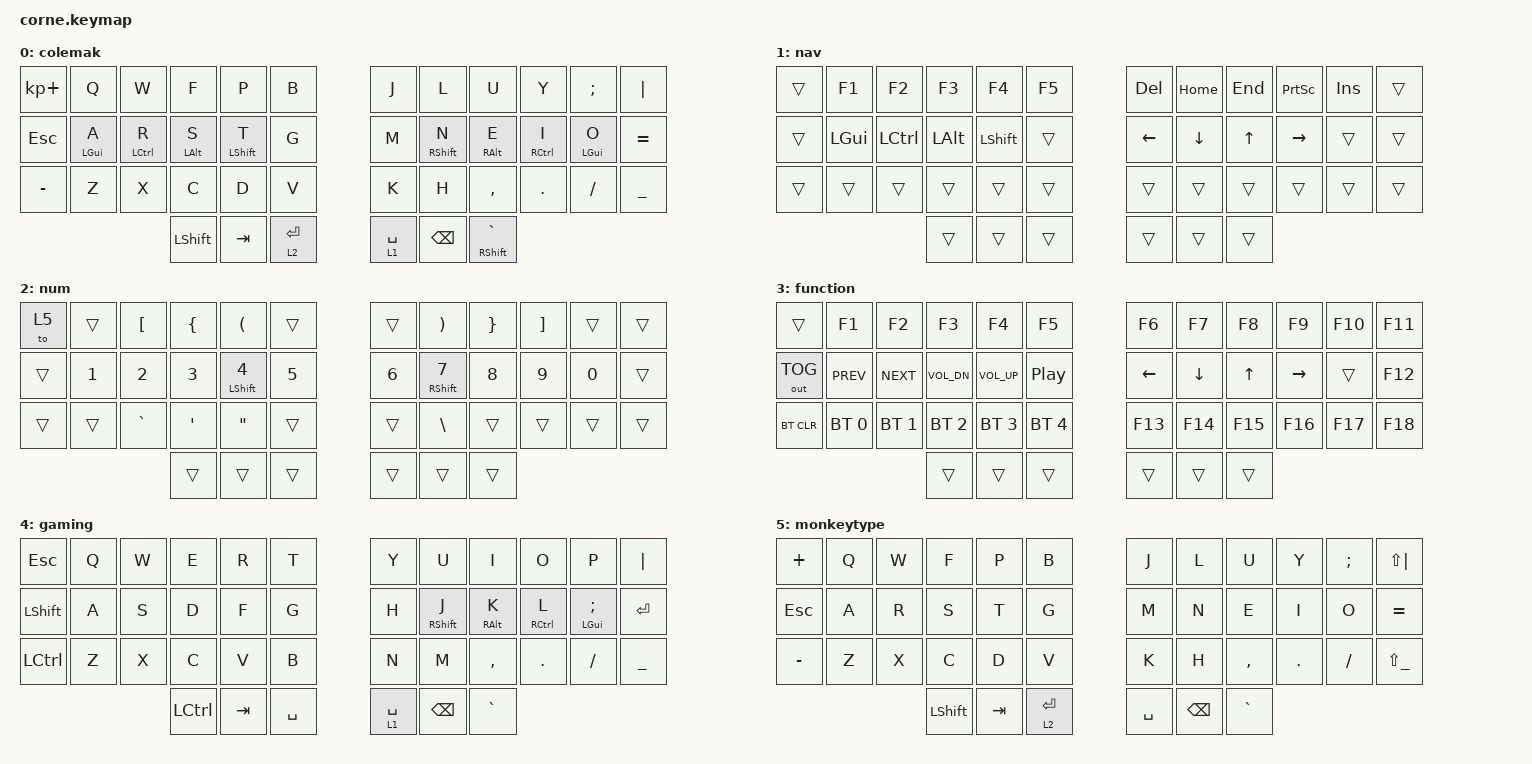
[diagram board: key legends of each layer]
/*
 * Copyright (c) 2020 The ZMK Contributors
 *
 * SPDX-License-Identifier: MIT
 */

#include <behaviors.dtsi>
#include <dt-bindings/zmk/bt.h>
#include <dt-bindings/zmk/keys.h>
#include <dt-bindings/zmk/outputs.h>

/ {
    behaviors {
        hm: homerow_mods {
            compatible = "zmk,behavior-hold-tap";
            label = "HOMEROW_MODS";
            #binding-cells = <2>;
            tapping-term-ms = <250>;
            quick-tap-ms = <0>;
            flavor = "tap-preferred";
            bindings = <&kp>, <&kp>;
        };

        shm: shift_homerow_mod {
            compatible = "zmk,behavior-hold-tap";
            label = "SHIFT_HOMEROW_MOD";
            bindings = <&kp>, <&kp>;

            #binding-cells = <2>;
            tapping-term-ms = <150>;
            flavor = "balanced";
        };

        conditional_layers {
            compatible = "zmk,conditional-layers";

            tri_layer {
                if-layers = <1 2>;
                then-layer = <3>;
            };
        };
    };

    combos {
        compatible = "zmk,combos";

        gaming-qwerty {
            bindings = <&tog 4>;
            key-positions = <0 5>;
        };

        monkeytype {
            bindings = <&tog 5>;
            key-positions = <16 18 30>;
            slow-release;
            require-prior-idle-ms = <800>;
            timeout-ms = <500>;
        };
    };

    keymap {
        compatible = "zmk,keymap";

        base_layer {
            bindings = <
&kp KP_PLUS  &kp Q       &kp W        &kp F           &kp P              &kp B        &kp J        &kp L               &kp U             &kp Y        &kp SEMI    &kp PIPE
&kp ESC      &hm LGUI A  &hm LCTRL R  &hm LALT S      &shm LEFT_SHIFT T  &kp G        &kp M        &shm RIGHT_SHIFT N  &hm RALT E        &hm RCTRL I  &hm LGUI O  &kp EQUAL
&kp MINUS    &kp Z       &kp X        &kp C           &kp D              &kp V        &kp K        &kp H               &kp COMMA         &kp DOT      &kp FSLH    &kp UNDER
                                      &kp LEFT_SHIFT  &kp TAB            &lt 2 RET    &lt 1 SPACE  &kp BSPC            &hm RSHIFT GRAVE
            >;

            label = "colemak";
        };

        nav_layer {
            bindings = <
&trans  &kp F1    &kp F2     &kp F3    &kp F4      &kp F5    &kp DEL   &kp HOME  &kp END  &kp PRINTSCREEN  &kp INS  &trans
&trans  &kp LGUI  &kp LCTRL  &kp LALT  &kp LSHIFT  &trans    &kp LEFT  &kp DOWN  &kp UP   &kp RIGHT        &trans   &trans
&trans  &trans    &trans     &trans    &trans      &trans    &trans    &trans    &trans   &trans           &trans   &trans
                             &trans    &trans      &trans    &trans    &trans    &trans
            >;

            label = "nav";
        };

        symbol_layer {
            bindings = <
&to 5   &trans  &kp LBKT   &kp LBRC  &kp LPAR                 &trans    &trans  &kp RPAR                  &kp RBRC  &kp RBKT  &trans  &trans
&trans  &kp N1  &kp N2     &kp N3    &hm LEFT_SHIFT NUMBER_4  &kp N5    &kp N6  &hm RIGHT_SHIFT NUMBER_7  &kp N8    &kp N9    &kp N0  &trans
&trans  &trans  &kp GRAVE  &kp SQT   &kp DOUBLE_QUOTES        &trans    &trans  &kp BACKSLASH             &trans    &trans    &trans  &trans
                           &trans    &trans                   &trans    &trans  &trans                    &trans
            >;

            label = "num";
        };

        function_layer {
            bindings = <
&trans        &kp F1        &kp F2        &kp F3        &kp F4        &kp F5          &kp F6    &kp F7    &kp F8   &kp F9     &kp F10  &kp F11
&out OUT_TOG  &kp C_PREV    &kp C_NEXT    &kp C_VOL_DN  &kp C_VOL_UP  &kp C_PP        &kp LEFT  &kp DOWN  &kp UP   &kp RIGHT  &trans   &kp F12
&bt BT_CLR    &bt BT_SEL 0  &bt BT_SEL 1  &bt BT_SEL 2  &bt BT_SEL 3  &bt BT_SEL 4    &kp F13   &kp F14   &kp F15  &kp F16    &kp F17  &kp F18
                                          &trans        &trans        &trans          &trans    &trans    &trans
            >;

            label = "function";
        };

        qwerty_layer {
            bindings = <
&kp ESC     &kp Q  &kp W  &kp E             &kp R    &kp T        &kp Y        &kp U               &kp I            &kp O                &kp P              &kp PIPE
&kp LSHIFT  &kp A  &kp S  &kp D             &kp F    &kp G        &kp H        &shm RIGHT_SHIFT J  &hm RIGHT_ALT K  &hm RIGHT_CONTROL L  &hm LEFT_GUI SEMI  &kp ENTER
&kp LCTRL   &kp Z  &kp X  &kp C             &kp V    &kp B        &kp N        &kp M               &kp COMMA        &kp DOT              &kp FSLH           &kp UNDERSCORE
                          &kp LEFT_CONTROL  &kp TAB  &kp SPACE    &lt 1 SPACE  &kp BACKSPACE       &kp GRAVE
            >;

            label = "gaming";
        };

        no_hm_layer {
            bindings = <
&kp PLUS   &kp Q  &kp W  &kp F      &kp P    &kp B          &kp J      &kp L     &kp U      &kp Y    &kp SEMI  &kp LS(PIPE)
&kp ESC    &kp A  &kp R  &kp S      &kp T    &kp G          &kp M      &kp N     &kp E      &kp I    &kp O     &kp EQUAL
&kp MINUS  &kp Z  &kp X  &kp C      &kp D    &kp V          &kp K      &kp H     &kp COMMA  &kp DOT  &kp FSLH  &kp LS(UNDER)
                         &kp LSHFT  &kp TAB  &lt 2 ENTER    &kp SPACE  &kp BSPC  &kp GRAVE
            >;

            label = "monkeytype";
        };
    };
};
